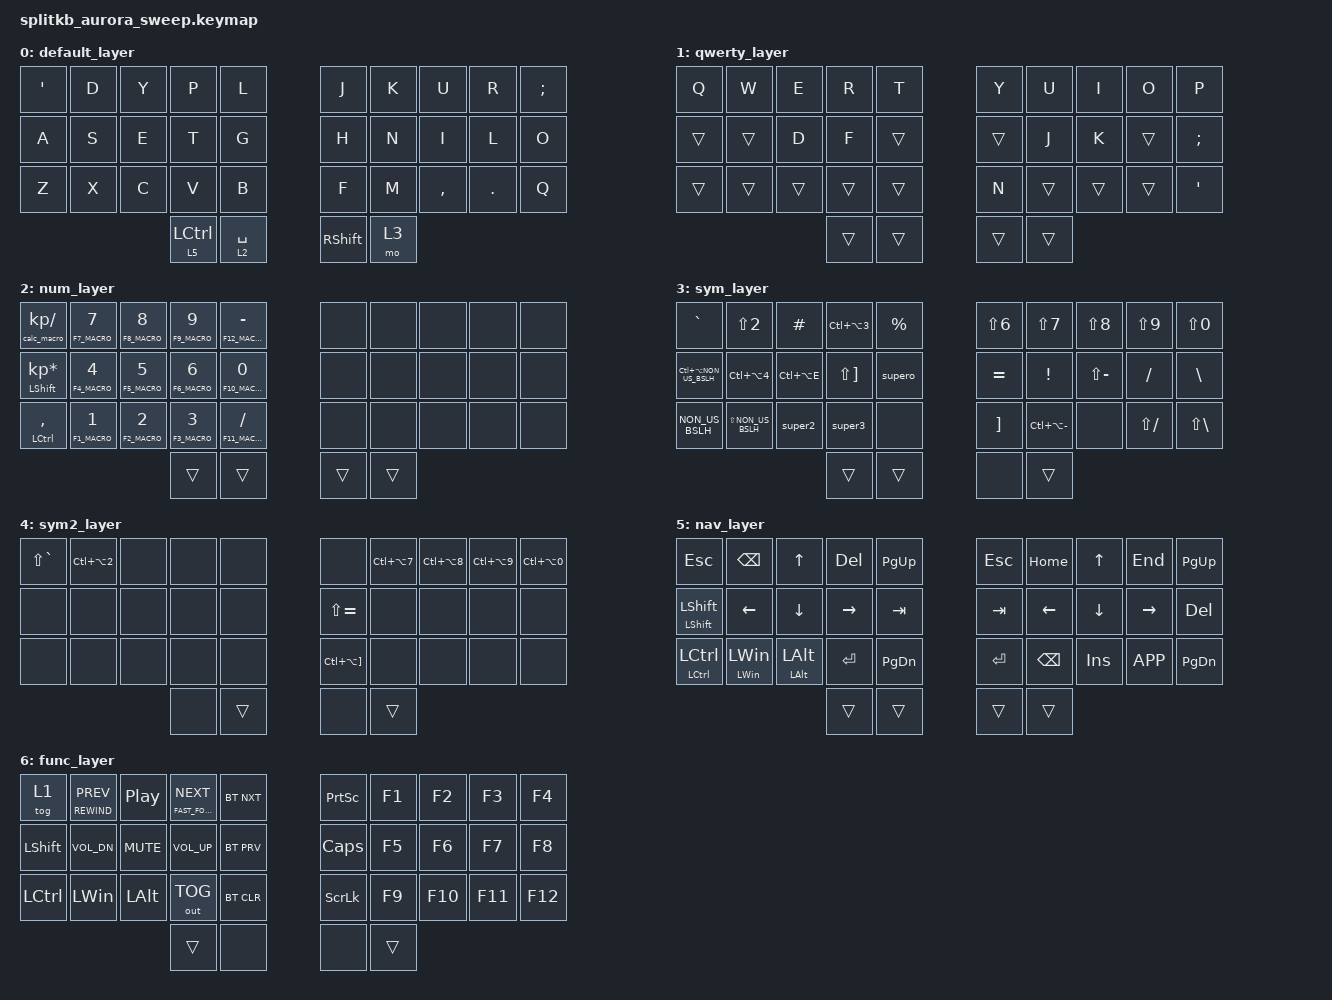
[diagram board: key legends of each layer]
/*
 * Copyright (c) 2022 The ZMK Contributors
 *
 * SPDX-License-Identifier: MIT
 */

#include <behaviors.dtsi>
#include <dt-bindings/zmk/bt.h>
#include <dt-bindings/zmk/keys.h>
#include <dt-bindings/zmk/outputs.h>

&caps_word { continue-list = <UNDERSCORE BACKSPACE DELETE A B C D E F G H I J K L M N O P Q R S T U V W X Y Z APOSTROPHE SEMI LEFT_BRACKET>; };

&sk { release-after-ms = <2500>; };

/ {
    combos {
        compatible = "zmk,combos";

        dot_combo {
            bindings = <&kp DOT>;
            key-positions = <20 21>;
            layers = <2>;
        };

        J_combo {
            bindings = <&kp J>;
            key-positions = <13 4>;
            layers = <0>;
            timeout-ms = <300>;
        };

        K_combo {
            bindings = <&kp K>;
            key-positions = <11 2 13>;
            layers = <0>;
            timeout-ms = <300>;
        };

        U_combo {
            bindings = <&kp U>;
            key-positions = <2 13>;
            layers = <0>;
            timeout-ms = <100>;
        };

        R_combo {
            bindings = <&kp R>;
            key-positions = <4 3>;
        };

        N_combo {
            bindings = <&kp N>;
            key-positions = <14 13>;
            layers = <0>;
        };

        O_combo {
            bindings = <&kp O>;
            key-positions = <2 1 3>;
            layers = <0>;
            timeout-ms = <270>;
        };

        omlaut_combo {
            bindings = <&kp SEMI>;
            key-positions = <13 2 1>;
            layers = <0>;
        };

        H_combo {
            bindings = <&kp H>;
            key-positions = <14 3>;
            layers = <0>;
        };

        I_combo {
            bindings = <&kp I>;
            key-positions = <11 2>;
            layers = <0>;
        };

        L_combo {
            bindings = <&kp L>;
            key-positions = <1 12 13>;
            layers = <0>;
            timeout-ms = <300>;
        };

        M_combo {
            bindings = <&kp M>;
            key-positions = <11 12 23>;
            layers = <0>;
            timeout-ms = <300>;
        };

        F_combo {
            bindings = <&kp F>;
            key-positions = <24 23>;
            layers = <0>;
        };

        Q_combo {
            bindings = <&kp Q>;
            key-positions = <0 1 2>;
            layers = <0>;
            timeout-ms = <280>;
        };

        home_combo {
            bindings = <&kp HOME>;
            key-positions = <2 1>;
            layers = <5>;
        };

        end_combo {
            bindings = <&kp END>;
            key-positions = <2 3>;
            layers = <5>;
        };

        aomlaut_combo {
            bindings = <&kp LEFT_BRACKET>;
            key-positions = <10 1 2>;
            timeout-ms = <300>;
            layers = <0>;
        };
    };

    macros {
        super2: super2 {
            compatible = "zmk,behavior-macro";
            #binding-cells = <0>;
            bindings =
                <&macro_press>,
                <&kp LALT>,
                <&macro_tap>,
                <&kp KP_N2 &kp KP_NUMBER_5 &kp KP_NUMBER_3>,
                <&macro_release>,
                <&kp LALT>;

            label = "SUPER2";
            wait-ms = <30>;
            tap-ms = <30>;
        };

        super3: SUPER3 {
            compatible = "zmk,behavior-macro";
            #binding-cells = <0>;
            bindings =
                <&macro_press>,
                <&kp LALT>,
                <&macro_tap>,
                <&kp KP_N0 &kp KP_NUMBER_1 &kp KP_NUMBER_7 &kp KP_N9>,
                <&macro_release>,
                <&kp LALT>;

            label = "SUPER3";
            wait-ms = <30>;
            tap-ms = <30>;
        };

        supero: SUPERO {
            compatible = "zmk,behavior-macro";
            #binding-cells = <0>;
            bindings =
                <&macro_press>,
                <&kp LALT>,
                <&macro_tap>,
                <&kp KP_N0 &kp KP_NUMBER_1 &kp KP_NUMBER_7 &kp KP_N6>,
                <&macro_release>,
                <&kp LALT>;

            label = "SUPERO";
            wait-ms = <30>;
            tap-ms = <30>;
        };

        sym2combo: sym2combo {
            compatible = "zmk,behavior-macro";
            #binding-cells = <0>;
            bindings = <&mo 3 &kp LSHIFT>;
            label = "SYM2COMBO";
        };

        F1_MACRO: F1_MACRO {
            compatible = "zmk,behavior-macro";
            #binding-cells = <0>;
            bindings = <&macro_tap>, <&kp F1>, <&macro_pause_for_release>;

            label = "F1_MACRO";
            tap-ms = <200>;
        };

        F2_MACRO: F2_MACRO {
            compatible = "zmk,behavior-macro";
            #binding-cells = <0>;
            bindings = <&macro_tap>, <&kp F2>, <&macro_pause_for_release>;

            label = "F2_MACRO";
            tap-ms = <200>;
        };

        F3_MACRO: F3_MACRO {
            compatible = "zmk,behavior-macro";
            #binding-cells = <0>;
            bindings = <&macro_tap>, <&kp F3>, <&macro_pause_for_release>;

            label = "F3_MACRO";
            tap-ms = <200>;
        };

        F4_MACRO: F4_MACRO {
            compatible = "zmk,behavior-macro";
            #binding-cells = <0>;
            bindings = <&macro_tap>, <&kp F4>, <&macro_pause_for_release>;

            label = "F4_MACRO";
            tap-ms = <200>;
        };

        F5_MACRO: F5_MACRO {
            compatible = "zmk,behavior-macro";
            #binding-cells = <0>;
            bindings = <&macro_tap>, <&kp F5>, <&macro_pause_for_release>;

            label = "F5_MACRO";
            tap-ms = <200>;
        };

        F6_MACRO: F6_MACRO {
            compatible = "zmk,behavior-macro";
            #binding-cells = <0>;
            bindings = <&macro_tap>, <&kp F6>, <&macro_pause_for_release>;

            label = "F6_MACRO";
            tap-ms = <200>;
        };

        F7_MACRO: F7_MACRO {
            compatible = "zmk,behavior-macro";
            #binding-cells = <0>;
            bindings = <&macro_tap>, <&kp F7>, <&macro_pause_for_release>;

            label = "F7_MACRO";
            tap-ms = <200>;
        };

        F8_MACRO: F8_MACRO {
            compatible = "zmk,behavior-macro";
            #binding-cells = <0>;
            bindings = <&macro_tap>, <&kp F8>, <&macro_pause_for_release>;

            label = "F8_MACRO";
            tap-ms = <200>;
        };

        F9_MACRO: F9_MACRO {
            compatible = "zmk,behavior-macro";
            #binding-cells = <0>;
            bindings = <&macro_tap>, <&kp F9>, <&macro_pause_for_release>;

            label = "F9_MACRO";
            tap-ms = <200>;
        };

        F10_MACRO: F10_MACRO {
            compatible = "zmk,behavior-macro";
            #binding-cells = <0>;
            bindings = <&macro_tap>, <&kp F10>, <&macro_pause_for_release>;

            label = "F10_MACRO";
            tap-ms = <200>;
        };

        F11_MACRO: F11_MACRO {
            compatible = "zmk,behavior-macro";
            #binding-cells = <0>;
            bindings = <&macro_tap>, <&kp F11>, <&macro_pause_for_release>;

            label = "F11_MACRO";
            tap-ms = <200>;
        };

        F12_MACRO: F12_MACRO {
            compatible = "zmk,behavior-macro";
            #binding-cells = <0>;
            bindings = <&macro_tap>, <&kp F12>, <&macro_pause_for_release>;

            label = "F12_MACRO";
            tap-ms = <200>;
        };

        calc_macro: calc_macro {
            compatible = "zmk,behavior-macro";
            #binding-cells = <0>;
            bindings =
                <&macro_tap>,
                <&kp C_AL_CALCULATOR>,
                <&macro_pause_for_release>;

            label = "CALC_MACRO";
            tap-ms = <200>;
        };
    };

    behaviors {
        kp_sk_behavior: kp_sk_behavior {
            compatible = "zmk,behavior-hold-tap";
            label = "KP_SK_BEHAVIOR";
            bindings = <&kp>, <&sk>;

            #binding-cells = <2>;
            flavor = "balanced";
            tapping-term-ms = <300>;
            hold-while-undecided;
            hold-while-undecided-linger;
        };

        F1_behavior: F1_behavior {
            compatible = "zmk,behavior-hold-tap";
            label = "F1_BEHAVIOR";
            #binding-cells = <2>;
            tapping-term-ms = <300>;
            flavor = "balanced";
            bindings = <&F1_MACRO>, <&kp>;
        };

        F2_behavior: F2_behavior {
            compatible = "zmk,behavior-hold-tap";
            label = "F2_BEHAVIOR";
            #binding-cells = <2>;
            tapping-term-ms = <300>;
            flavor = "balanced";
            bindings = <&F2_MACRO>, <&kp>;
        };

        F3_behavior: F3_behavior {
            compatible = "zmk,behavior-hold-tap";
            label = "F3_BEHAVIOR";
            #binding-cells = <2>;
            tapping-term-ms = <300>;
            flavor = "balanced";
            bindings = <&F3_MACRO>, <&kp>;
        };

        F4_behavior: F4_behavior {
            compatible = "zmk,behavior-hold-tap";
            label = "F4_BEHAVIOR";
            #binding-cells = <2>;
            tapping-term-ms = <300>;
            flavor = "balanced";
            bindings = <&F4_MACRO>, <&kp>;
        };

        F5_behavior: F5_behavior {
            compatible = "zmk,behavior-hold-tap";
            label = "F5_BEHAVIOR";
            #binding-cells = <2>;
            tapping-term-ms = <300>;
            flavor = "balanced";
            bindings = <&F5_MACRO>, <&kp>;
        };

        F6_behavior: F6_behavior {
            compatible = "zmk,behavior-hold-tap";
            label = "F6_BEHAVIOR";
            #binding-cells = <2>;
            tapping-term-ms = <300>;
            flavor = "balanced";
            bindings = <&F6_MACRO>, <&kp>;
        };

        F7_behavior: F7_behavior {
            compatible = "zmk,behavior-hold-tap";
            label = "F7_BEHAVIOR";
            #binding-cells = <2>;
            tapping-term-ms = <300>;
            flavor = "balanced";
            bindings = <&F7_MACRO>, <&kp>;
        };

        F8_behavior: F8_behavior {
            compatible = "zmk,behavior-hold-tap";
            label = "F8_BEHAVIOR";
            #binding-cells = <2>;
            tapping-term-ms = <300>;
            flavor = "balanced";
            bindings = <&F8_MACRO>, <&kp>;
        };

        F9_behavior: F9_behavior {
            compatible = "zmk,behavior-hold-tap";
            label = "F9_BEHAVIOR";
            #binding-cells = <2>;
            tapping-term-ms = <300>;
            flavor = "balanced";
            bindings = <&F9_MACRO>, <&kp>;
        };

        F10_behavior: F10_behavior {
            compatible = "zmk,behavior-hold-tap";
            label = "F10_BEHAVIOR";
            #binding-cells = <2>;
            tapping-term-ms = <300>;
            flavor = "balanced";
            bindings = <&F10_MACRO>, <&kp>;
        };

        F11_behavior: F11_behavior {
            compatible = "zmk,behavior-hold-tap";
            label = "F11_BEHAVIOR";
            #binding-cells = <2>;
            tapping-term-ms = <300>;
            flavor = "balanced";
            bindings = <&F11_MACRO>, <&kp>;
        };

        F12_behavior: F12_behavior {
            compatible = "zmk,behavior-hold-tap";
            label = "F12_BEHAVIOR";
            #binding-cells = <2>;
            tapping-term-ms = <300>;
            flavor = "balanced";
            bindings = <&F12_MACRO>, <&kp>;
        };

        calc_behavior: calc_behavior {
            compatible = "zmk,behavior-hold-tap";
            label = "CALC_BEHAVIOR";
            #binding-cells = <2>;
            tapping-term-ms = <200>;
            flavor = "balanced";
            bindings = <&calc_macro>, <&kp>;
        };

        lrp_behavior: lrp_behavior {
            compatible = "zmk,behavior-hold-tap";
            label = "LRP_BEHAVIOR";
            bindings = <&mo>, <&key_repeat>;

            #binding-cells = <2>;
            tapping-term-ms = <200>;
            flavor = "balanced";
        };
    };

    keymap {
        compatible = "zmk,keymap";

        default_layer {
            bindings = <
&kp SQT                &kp D        &kp Y  &kp P  &kp L    &kp J  &kp K  &kp U      &kp R       &kp SEMI
&kp A                  &kp S        &kp E  &kp T  &kp G    &kp H  &kp N  &kp I      &kp L       &kp O
&kp Z                  &kp X        &kp C  &kp V  &kp B    &kp F  &kp M  &kp COMMA  &kp PERIOD  &kp Q
&lrp_behavior 5 LCTRL  &lt 2 SPACE                                                  &kp RSHIFT  &mo 3
            >;
        };

        qwerty_layer {
            bindings = <
&kp Q   &kp W   &kp E   &kp R   &kp T     &kp Y   &kp U   &kp I   &kp O   &kp P
&trans  &trans  &kp D   &kp F   &trans    &trans  &kp J   &kp K   &trans  &kp SEMI
&trans  &trans  &trans  &trans  &trans    &kp N   &trans  &trans  &trans  &kp SQT
&trans  &trans                                                    &trans  &trans
            >;
        };

        num_layer {
            bindings = <
&calc_behavior 0 KP_SLASH  &F7_behavior 0 N7  &F8_behavior 0 N8  &F9_behavior 0 N9  &F12_behavior 0 MINUS    &none  &none  &none  &none   &none
&mt LSHIFT KP_MULTIPLY     &F4_behavior 0 N4  &F5_behavior 0 N5  &F6_behavior 0 N6  &F10_behavior 0 N0       &none  &none  &none  &none   &none
&mt LCTRL COMMA            &F1_behavior 0 N1  &F2_behavior 0 N2  &F3_behavior 0 N3  &F11_behavior 0 SLASH    &none  &none  &none  &none   &none
&trans                     &trans                                                                                                 &trans  &trans
            >;
        };

        sym_layer {
            bindings = <
&kp GRAVE                &kp LS(NUMBER_2)      &kp HASH       &kp LC(LA(NUMBER_3))   &kp PERCENT    &kp LS(NUMBER_6)   &kp LS(N7)         &kp LS(N8)     &kp LS(N9)     &kp LS(N0)
&kp LC(LA(NON_US_BSLH))  &kp LC(LA(NUMBER_4))  &kp LC(LA(E))  &kp LS(RIGHT_BRACKET)  &supero        &kp EQUAL          &kp EXCL           &kp LS(MINUS)  &kp SLASH      &kp BACKSLASH
&kp NON_US_BSLH          &kp LS(NON_US_BSLH)   &super2        &super3                &none          &kp RIGHT_BRACKET  &kp LC(LA(MINUS))  &none          &kp LS(SLASH)  &kp LS(BACKSLASH)
&trans                   &trans                                                                                                                          &none          &trans
            >;
        };

        sym2_layer {
            bindings = <
&kp LS(GRAVE)  &kp LC(LA(NUMBER_2))  &none  &none  &none    &none                      &kp LC(LA(N7))  &kp LC(LA(N8))  &kp LC(LA(N9))  &kp LC(LA(N0))
&none          &none                 &none  &none  &none    &kp LS(EQUAL)              &none           &none           &none           &none
&none          &none                 &none  &none  &none    &kp LC(LA(RIGHT_BRACKET))  &none           &none           &none           &none
&none          &trans                                                                                                  &none           &trans
            >;
        };

        nav_layer {
            bindings = <
&kp ESCAPE                   &kp BACKSPACE              &kp UP_ARROW               &kp DELETE  &kp PG_UP        &kp ESC    &kp HOME        &kp UP_ARROW  &kp END    &kp PG_UP
&kp_sk_behavior LSHFT LSHFT  &kp LEFT                   &kp DOWN                   &kp RIGHT   &kp TAB          &kp TAB    &kp LEFT_ARROW  &kp DOWN      &kp RIGHT  &kp DEL
&kp_sk_behavior LCTRL LCTRL  &kp_sk_behavior LWIN LWIN  &kp_sk_behavior LALT LALT  &kp ENTER   &kp PAGE_DOWN    &kp ENTER  &kp BACKSPACE   &kp INS       &kp K_APP  &kp PG_DN
&trans                       &trans                                                                                                                      &trans     &trans
            >;
        };

        func_layer {
            bindings = <
&tog 1      &mt C_REWIND C_PREV  &kp C_PP    &mt C_FAST_FORWARD C_NEXT  &bt BT_NXT    &kp PRINTSCREEN  &kp F1  &kp F2   &kp F3   &kp F4
&kp LSHIFT  &kp C_VOL_DN         &kp C_MUTE  &kp C_VOL_UP               &bt BT_PRV    &kp CAPSLOCK     &kp F5  &kp F6   &kp F7   &kp F8
&kp LCTRL   &kp LWIN             &kp LALT    &out OUT_TOG               &bt BT_CLR    &kp SCROLLLOCK   &kp F9  &kp F10  &kp F11  &kp F12
&trans      &none                                                                                                       &none    &trans
            >;
        };
    };

    conditional_layers {
        compatible = "zmk,conditional-layers";

        function {
            if-layers = <3 5>;
            then-layer = <6>;
        };

        sym2 {
            if-layers = <3 2>;
            then-layer = <4>;
        };

        lfunction {
            if-layers = <2 5>;
            then-layer = <6>;
        };
    };
};
